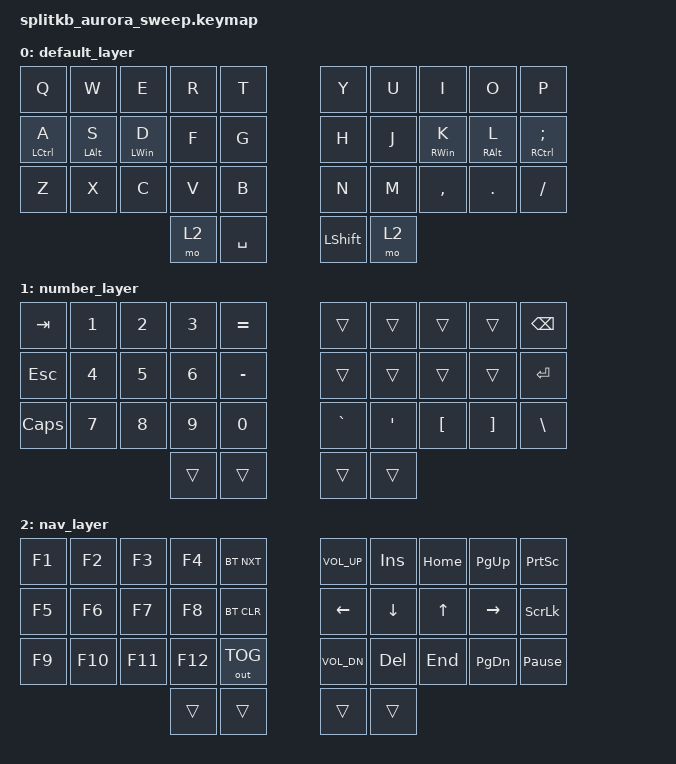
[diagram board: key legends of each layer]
/*
 * Copyright (c) 2022 The ZMK Contributors
 *
 * SPDX-License-Identifier: MIT
 */

#include <behaviors.dtsi>
#include <dt-bindings/zmk/keys.h>
#include <dt-bindings/zmk/bt.h>
#include <dt-bindings/zmk/outputs.h>

#define MT_ACTRL  &mt LCTRL A
#define MT_SALT   &mt LALT S
#define MT_DWIN   &mt LWIN D
#define MT_KWIN   &mt RWIN K
#define MT_LALT   &mt RALT L
#define MT_SEMCTL &mt RCTRL SEMI

&mt {
	flavor = "balanced";
};

/ {
keymap {
	compatible = "zmk,keymap";

	default_layer {
	bindings = <
		&kp Q     &kp W     &kp E     &kp R     &kp T         &kp Y     &kp U     &kp I     &kp O     &kp P
		MT_ACTRL  MT_SALT   MT_DWIN   &kp F     &kp G         &kp H     &kp J     MT_KWIN   MT_LALT   MT_SEMCTL
		&kp Z     &kp X     &kp C     &kp V     &kp B         &kp N     &kp M     &kp CMMA  &kp DOT   &kp FSLH
		                              &mo 2     &kp SPC       &kp LSHFT &mo 2
	>;};

	number_layer {
	bindings = <
		&kp TAB   &kp N1    &kp N2    &kp N3    &kp EQUAL     &trans    &trans    &trans    &trans    &kp BSPC
		&kp ESC   &kp N4    &kp N5    &kp N6    &kp MINUS     &trans    &trans    &trans    &trans    &kp RET
		&kp CAPS  &kp N7    &kp N8    &kp N9    &kp N0        &kp GRAVE &kp SQT   &kp LBKT  &kp RBKT  &kp BSLH
		                              &trans    &trans        &trans    &trans
	>;};

	nav_layer {
	bindings = <
		&kp F1    &kp F2    &kp F3    &kp F4    &bt BT_NXT    &kp C_VOL_UP &kp INS   &kp HOME  &kp PG_UP &kp PSCRN
		&kp F5    &kp F6    &kp F7    &kp F8    &bt BT_CLR    &kp LEFT     &kp DOWN  &kp UP    &kp RIGHT &kp SLCK
		&kp F9    &kp F10   &kp F11   &kp F12   &out OUT_TOG  &kp C_VOL_DN &kp DEL   &kp END   &kp PG_DN &kp PAUSE_BREAK
		                              &trans    &trans        &trans       &trans
	>;};

};
};
